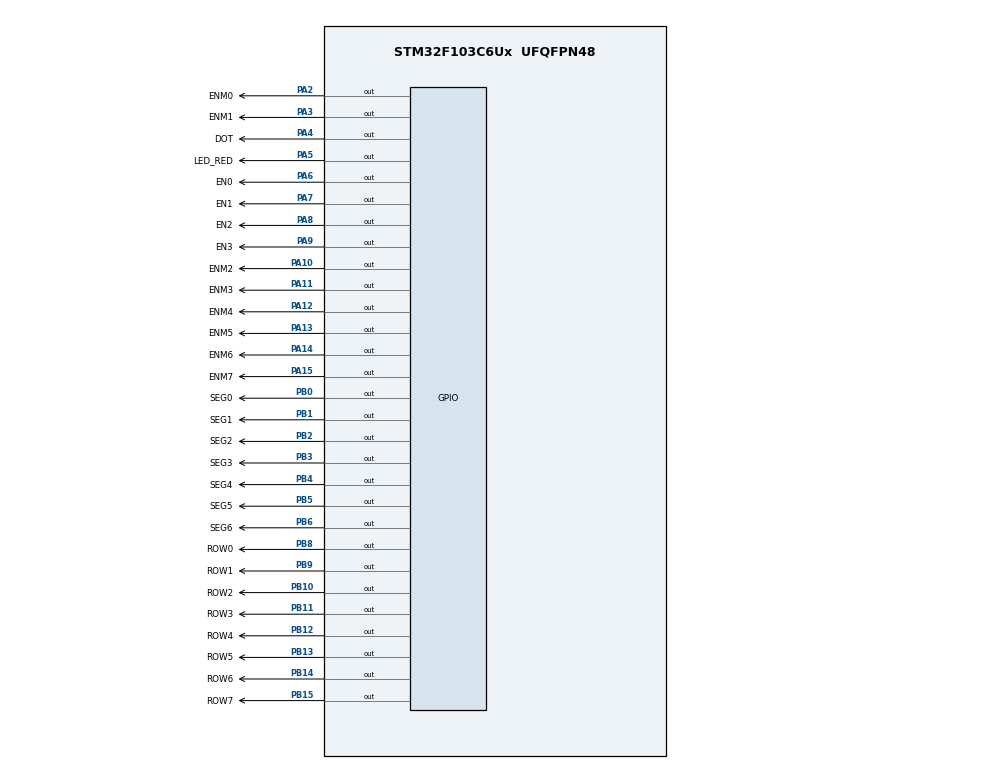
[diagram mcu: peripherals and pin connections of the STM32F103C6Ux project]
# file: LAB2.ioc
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Mcu.Family=STM32F1
Mcu.Name=STM32F103C6Ux
Mcu.Package=UFQFPN48
NVIC.PriorityGroup=NVIC_PRIORITYGROUP_4
NVIC.TIM2_IRQn=true\:0\:0\:false\:false\:true\:true\:true
PA10.GPIO_Label=ENM2
PA10.Signal=GPIO_Output
PA11.GPIO_Label=ENM3
PA11.Signal=GPIO_Output
PA12.GPIO_Label=ENM4
PA12.Signal=GPIO_Output
PA13.GPIO_Label=ENM5
PA13.Signal=GPIO_Output
PA14.GPIO_Label=ENM6
PA14.Signal=GPIO_Output
PA15.GPIO_Label=ENM7
PA15.Signal=GPIO_Output
PA2.GPIO_Label=ENM0
PA2.Signal=GPIO_Output
PA3.GPIO_Label=ENM1
PA3.Signal=GPIO_Output
PA4.GPIO_Label=DOT
PA4.Signal=GPIO_Output
PA5.GPIO_Label=LED_RED
PA5.Signal=GPIO_Output
PA6.GPIO_Label=EN0
PA6.Signal=GPIO_Output
PA7.GPIO_Label=EN1
PA7.Signal=GPIO_Output
PA8.GPIO_Label=EN2
PA8.Signal=GPIO_Output
PA9.GPIO_Label=EN3
PA9.Signal=GPIO_Output
PB0.GPIO_Label=SEG0
PB0.Signal=GPIO_Output
PB1.GPIO_Label=SEG1
PB1.Signal=GPIO_Output
PB10.GPIO_Label=ROW2
PB10.Signal=GPIO_Output
PB11.GPIO_Label=ROW3
PB11.Signal=GPIO_Output
PB12.GPIO_Label=ROW4
PB12.Signal=GPIO_Output
PB13.GPIO_Label=ROW5
PB13.Signal=GPIO_Output
PB14.GPIO_Label=ROW6
PB14.Signal=GPIO_Output
PB15.GPIO_Label=ROW7
PB15.Signal=GPIO_Output
PB2.GPIO_Label=SEG2
PB2.Signal=GPIO_Output
PB3.GPIO_Label=SEG3
PB3.Signal=GPIO_Output
PB4.GPIO_Label=SEG4
PB4.Signal=GPIO_Output
PB5.GPIO_Label=SEG5
PB5.Signal=GPIO_Output
PB6.GPIO_Label=SEG6
PB6.Signal=GPIO_Output
PB8.GPIO_Label=ROW0
PB8.Signal=GPIO_Output
PB9.GPIO_Label=ROW1
PB9.Signal=GPIO_Output
ProjectManager.HeapSize=0x200
ProjectManager.StackSize=0x400
ProjectManager.TargetToolchain=STM32CubeIDE
RCC.APB1Freq_Value=8000000
RCC.APB2Freq_Value=8000000
TIM2.Period=9
TIM2.Prescaler=7999
VP_SYS_VS_ND.Mode=No_Debug
VP_TIM2_VS_ClockSourceINT.Mode=Internal
board=custom

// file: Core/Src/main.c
/* USER CODE BEGIN Header */
/**
  ******************************************************************************
  * @file           : main.c
  * @brief          : Main program body
  ******************************************************************************
  * @attention
  *
  * <h2><center>&copy; Copyright (c) 2024 STMicroelectronics.
  * All rights reserved.</center></h2>
  *
  * This software component is licensed by ST under BSD 3-Clause license,
  * the "License"; You may not use this file except in compliance with the
  * License. You may obtain a copy of the License at:
  *                        opensource.org/licenses/BSD-3-Clause
  *
  ******************************************************************************
  */
/* USER CODE END Header */
#include "main.h"

/* USER CODE BEGIN Includes */
#include "software_timer.h"
#include "exercise9.h"
/* USER CODE END Includes */

TIM_HandleTypeDef htim2;

void SystemClock_Config(void);
static void MX_GPIO_Init(void);
static void MX_TIM2_Init(void);

int main(void)
{

  /* MCU Configuration--------------------------------------------------------*/

  /* Reset of all peripherals, Initializes the Flash interface and the Systick. */
  HAL_Init();

  /* Configure the system clock */
  SystemClock_Config();

  /* Initialize all configured peripherals */
  MX_GPIO_Init();
  MX_TIM2_Init();
  /* USER CODE BEGIN 2 */
  HAL_TIM_Base_Start_IT(&htim2);
  /* USER CODE END 2 */

  /* Infinite loop */
  /* USER CODE BEGIN WHILE */
  int index_led = 0;
  int index_led_matrix = 0;
  hour = 15; minute = 8; second = 50;

  clearAll();
  setTimer(0, 1000);
  setTimer(1, 250);
  setTimer(2, 1000);
  setTimer(3, 10);

  timer_flag[1] = 1;
  timer_flag[2] = 1;
  timer_flag[3] = 1;
  while (1)
  {
	if (timer_flag[0] == 1)
	{
		HAL_GPIO_TogglePin(LED_RED_GPIO_Port, LED_RED_Pin);
		HAL_GPIO_TogglePin(DOT_GPIO_Port, DOT_Pin);
		setTimer(0, 1000);
	}

	if (timer_flag[1] == 1)
	{
		update7SEG(index_led);
		index_led++;
		if (index_led >= 4)
			index_led = 0;

		setTimer(1, 250);
	}

	if (timer_flag[2] == 1)
	{
		second++;
		if (second >= 60)
		{
			second = 0;
			minute++;
		}
		if( minute >= 60) {
			minute = 0;
			hour ++;
		}
		if( hour >= 24){
			hour = 0;
		}
		updateClockBuffer();
		setTimer(2, 1000);
	}

	if (timer_flag[3] == 1)
	{
		updateLEDMatrix(index_led_matrix++);
		if (index_led_matrix >= 8)
			index_led_matrix = 0;

		setTimer(3, 10);
	}

    /* USER CODE END WHILE */

  }
}

void SystemClock_Config(void)
{
  RCC_OscInitTypeDef RCC_OscInitStruct = {0};
  RCC_ClkInitTypeDef RCC_ClkInitStruct = {0};

  /** Initializes the RCC Oscillators according to the specified parameters
  * in the RCC_OscInitTypeDef structure.
  */
  RCC_OscInitStruct.OscillatorType = RCC_OSCILLATORTYPE_HSI;
  RCC_OscInitStruct.HSIState = RCC_HSI_ON;
  RCC_OscInitStruct.HSICalibrationValue = RCC_HSICALIBRATION_DEFAULT;
  RCC_OscInitStruct.PLL.PLLState = RCC_PLL_NONE;
  if (HAL_RCC_OscConfig(&RCC_OscInitStruct) != HAL_OK)
  {
    Error_Handler();
  }
  /** Initializes the CPU, AHB and APB buses clocks
  */
  RCC_ClkInitStruct.ClockType = RCC_CLOCKTYPE_HCLK|RCC_CLOCKTYPE_SYSCLK
                              |RCC_CLOCKTYPE_PCLK1|RCC_CLOCKTYPE_PCLK2;
  RCC_ClkInitStruct.SYSCLKSource = RCC_SYSCLKSOURCE_HSI;
  RCC_ClkInitStruct.AHBCLKDivider = RCC_SYSCLK_DIV1;
  RCC_ClkInitStruct.APB1CLKDivider = RCC_HCLK_DIV1;
  RCC_ClkInitStruct.APB2CLKDivider = RCC_HCLK_DIV1;

  if (HAL_RCC_ClockConfig(&RCC_ClkInitStruct, FLASH_LATENCY_0) != HAL_OK)
  {
    Error_Handler();
  }
}

static void MX_TIM2_Init(void)
{

  TIM_ClockConfigTypeDef sClockSourceConfig = {0};
  TIM_MasterConfigTypeDef sMasterConfig = {0};

  htim2.Instance = TIM2;
  htim2.Init.Prescaler = 7999;
  htim2.Init.CounterMode = TIM_COUNTERMODE_UP;
  htim2.Init.Period = 9;
  htim2.Init.ClockDivision = TIM_CLOCKDIVISION_DIV1;
  htim2.Init.AutoReloadPreload = TIM_AUTORELOAD_PRELOAD_DISABLE;
  if (HAL_TIM_Base_Init(&htim2) != HAL_OK)
  {
    Error_Handler();
  }
  sClockSourceConfig.ClockSource = TIM_CLOCKSOURCE_INTERNAL;
  if (HAL_TIM_ConfigClockSource(&htim2, &sClockSourceConfig) != HAL_OK)
  {
    Error_Handler();
  }
  sMasterConfig.MasterOutputTrigger = TIM_TRGO_RESET;
  sMasterConfig.MasterSlaveMode = TIM_MASTERSLAVEMODE_DISABLE;
  if (HAL_TIMEx_MasterConfigSynchronization(&htim2, &sMasterConfig) != HAL_OK)
  {
    Error_Handler();
  }

}

static void MX_GPIO_Init(void)
{
  GPIO_InitTypeDef GPIO_InitStruct = {0};

  /* GPIO Ports Clock Enable */
  __HAL_RCC_GPIOA_CLK_ENABLE();
  __HAL_RCC_GPIOB_CLK_ENABLE();

  /*Configure GPIO pin Output Level */
  HAL_GPIO_WritePin(GPIOA, ENM0_Pin|ENM1_Pin|DOT_Pin|LED_RED_Pin
                          |EN0_Pin|EN1_Pin|EN2_Pin|EN3_Pin
                          |ENM2_Pin|ENM3_Pin|ENM4_Pin|ENM5_Pin
                          |ENM6_Pin|ENM7_Pin, GPIO_PIN_RESET);

  /*Configure GPIO pin Output Level */
  HAL_GPIO_WritePin(GPIOB, SEG0_Pin|SEG1_Pin|SEG2_Pin|ROW2_Pin
                          |ROW3_Pin|ROW4_Pin|ROW5_Pin|ROW6_Pin
                          |ROW7_Pin|SEG3_Pin|SEG4_Pin|SEG5_Pin
                          |SEG6_Pin|ROW0_Pin|ROW1_Pin, GPIO_PIN_RESET);

  /*Configure GPIO pins : ENM0_Pin ENM1_Pin DOT_Pin LED_RED_Pin
                           EN0_Pin EN1_Pin EN2_Pin EN3_Pin
                           ENM2_Pin ENM3_Pin ENM4_Pin ENM5_Pin
                           ENM6_Pin ENM7_Pin */
  GPIO_InitStruct.Pin = ENM0_Pin|ENM1_Pin|DOT_Pin|LED_RED_Pin
                          |EN0_Pin|EN1_Pin|EN2_Pin|EN3_Pin
                          |ENM2_Pin|ENM3_Pin|ENM4_Pin|ENM5_Pin
                          |ENM6_Pin|ENM7_Pin;
  GPIO_InitStruct.Mode = GPIO_MODE_OUTPUT_PP;
  GPIO_InitStruct.Pull = GPIO_NOPULL;
  GPIO_InitStruct.Speed = GPIO_SPEED_FREQ_LOW;
  HAL_GPIO_Init(GPIOA, &GPIO_InitStruct);

  /*Configure GPIO pins : SEG0_Pin SEG1_Pin SEG2_Pin ROW2_Pin
                           ROW3_Pin ROW4_Pin ROW5_Pin ROW6_Pin
                           ROW7_Pin SEG3_Pin SEG4_Pin SEG5_Pin
                           SEG6_Pin ROW0_Pin ROW1_Pin */
  GPIO_InitStruct.Pin = SEG0_Pin|SEG1_Pin|SEG2_Pin|ROW2_Pin
                          |ROW3_Pin|ROW4_Pin|ROW5_Pin|ROW6_Pin
                          |ROW7_Pin|SEG3_Pin|SEG4_Pin|SEG5_Pin
                          |SEG6_Pin|ROW0_Pin|ROW1_Pin;
  GPIO_InitStruct.Mode = GPIO_MODE_OUTPUT_PP;
  GPIO_InitStruct.Pull = GPIO_NOPULL;
  GPIO_InitStruct.Speed = GPIO_SPEED_FREQ_LOW;
  HAL_GPIO_Init(GPIOB, &GPIO_InitStruct);

}

/* USER CODE BEGIN 4 */
void HAL_TIM_PeriodElapsedCallback( TIM_HandleTypeDef * htim)
{
	timerRun();
}
/* USER CODE END 4 */

void Error_Handler(void)
{
  __disable_irq();
  while (1)
  {
  }
}

/************************ (C) COPYRIGHT STMicroelectronics *****END OF FILE****/
